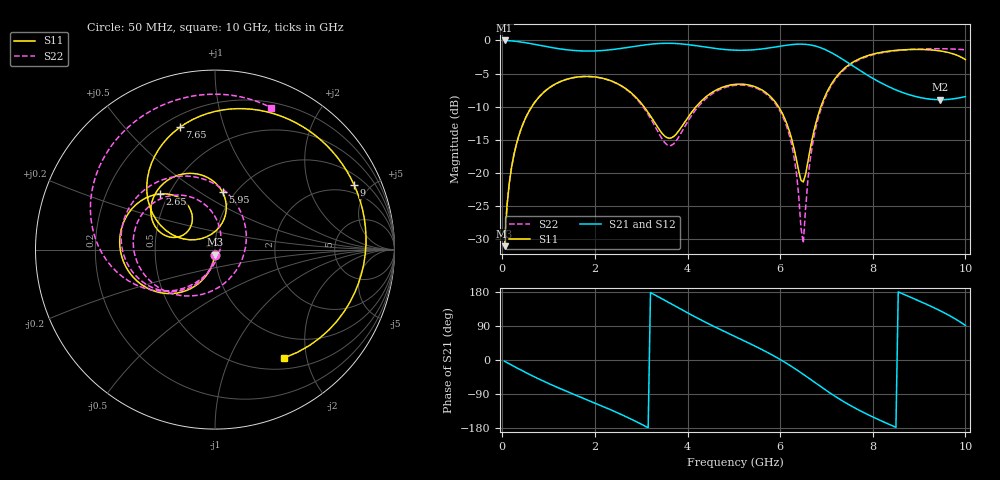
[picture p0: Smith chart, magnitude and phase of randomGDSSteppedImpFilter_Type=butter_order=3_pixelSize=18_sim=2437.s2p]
! freq	dB(S11)	phase(S11)	dB(S12)	phase(S12)
!  dB(S21)	phase(S21)	dB(S22)	phase(S22)
!S-par simulation data
#  GHz  S  DB  R 50
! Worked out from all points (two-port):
!   200 points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, 50 MHz to 10 GHz, reference 50 ohm
!   highest |S21| = -0.01 dB at 50 MHz (marker M1); lowest = -9.0 dB at 9.45 GHz (marker M2)
!   |S21| within 3 dB of the highest: start of sweep to 7.384 GHz
!   lowest |S11| = -31.1 dB at 50 MHz (marker M3), VSWR 1.06, Z = 49.8 - j2.78 ohm
!   |S11| at or under -10 dB: start of sweep to 637.9 MHz; 3.058 GHz to 4.186 GHz (1.128 GHz wide, 31.1 % of centre); 5.963 GHz to 6.881 GHz (918.1 MHz wide, 14.3 % of centre)
!   |S22| runs from -31.1 to -1.3 dB; largest |S21 - S12| = 0
!   S11 on the Smith chart (normalised r, x): 50 MHz: 1.00, -0.06; 2.65 GHz: 0.45, +0.34; 5.95 GHz: 0.88, +0.63; 7.65 GHz: 0.26, +0.72; 9 GHz: 1.50, +4.01; 10 GHz: 0.66, -1.63
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0.05  -31.07 -93.4  -0.01 -3.4  -0.01 -3.4  -31.08 -93.6
0.1  -25.08 -96.8  -0.02 -6.7  -0.02 -6.7  -25.09 -97.1
0.2  -19.18 -103.4  -0.07 -13.3  -0.07 -13.3  -19.18 -104.1
0.5  -11.76 -122.2  -0.35 -32.6  -0.35 -32.6  -11.76 -124.0
1.05  -6.99 -153.2  -1.06 -64.8  -1.06 -64.8  -6.99 -157.3
1.75  -5.45 173.1  -1.60 -101.0  -1.60 -101.0  -5.46 164.2
2.65  -7.21 134.7  -1.12 -148.4  -1.12 -148.4  -7.27 109.2
3.4  -13.57 127.0  -0.46 164.8  -0.46 164.8  -14.28 25.6
3.7  -14.52 151.7  -0.45 144.5  -0.45 144.5  -15.62 -44.2
4.2  -9.89 162.5  -0.81 111.5  -0.81 111.5  -10.27 -122.6
5.05  -6.62 128.4  -1.48 60.6  -1.48 60.6  -6.77 172.5
5.95  -9.85 82.4  -0.93 4.9  -0.93 4.9  -10.11 112.7
6.3  -16.32 75.0  -0.60 -21.3  -0.60 -21.3  -17.59 79.7
6.5  -21.39 123.3  -0.57 -37.8  -0.57 -37.8  -30.61 -33.0
6.6  -18.29 153.0  -0.63 -46.4  -0.63 -46.4  -20.99 -96.1
6.7  -14.61 161.3  -0.75 -55.0  -0.75 -55.0  -15.66 -112.9
7.15  -6.13 140.2  -2.02 -93.0  -2.02 -93.0  -6.33 -156.0
7.65  -2.99 106.0  -4.22 -129.0  -4.22 -129.0  -3.11 168.9
8.35  -1.62 63.3  -7.01 -169.7  -7.01 -169.7  -1.69 132.2
9  -1.36 24.8  -8.60 155.9  -8.60 155.9  -1.30 104.8
9.45  -1.59 -5.4  -8.96 130.3  -8.96 130.3  -1.25 87.7
10  -2.90 -57.3  -8.49 91.1  -8.49 91.1  -1.41 68.5
